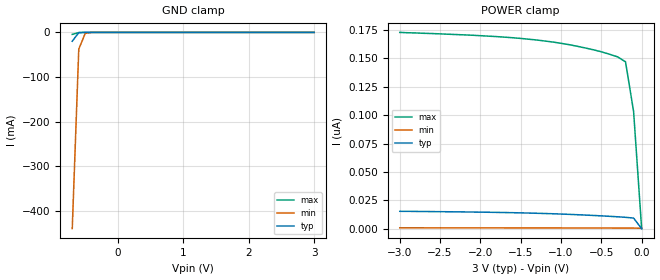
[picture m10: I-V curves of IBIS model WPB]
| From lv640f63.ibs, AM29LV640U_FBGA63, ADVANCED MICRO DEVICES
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|   Model WPB
[Model]   WPB
Model_type   Input
Polarity   Inverting
Vinl =   0.8000V
Vinh =   2.1000V
C_comp   8.0000pF   8.0000pF   8.0000pF
[Temperature Range]   27.0000   100.0000   0.000
[Pullup Reference]   3.0000V   2.7000V   3.6000V
[Pulldown Reference]   0.000V   0.000V   0.000V
[POWER Clamp Reference]   3.0000V   2.7000V   3.6000V
[GND Clamp Reference]   0.000V   0.000V   0.000V
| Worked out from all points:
|   GND clamp passes 1 mA (typ) near -0.60 V on its own axis
[GND_clamp]
| voltage   I(typ)   I(min)   I(max)
-700mV    -19.84mA   -440.3mA   -4.487mA
-600mV    -545.5uA   -37.29mA   -436.9uA
-500mV    -21.64uA   -1.775mA   -47.82uA
-300mV    -577.5nA   -4.159uA   -1.373uA
3V        23.28pA    585.9pA    -579.5nA
[POWER_clamp]
| voltage   I(typ)   I(min)   I(max)
-3V       15.34nA    779.2pA    172.9nA
-1.8V     14.37nA    718.8pA    169.2nA
-1.1V     13.17nA    664.8pA    164.4nA
-800mV    12.34nA    636.9pA    160.7nA
-500mV    11.31nA    606.9pA    155.8nA
-300mV    10.5nA     585.9pA    151.4nA
-200mV    10.04nA    574.8pA    147nA
-100mV    9.357nA    559pA      103.3nA
0V        46.5pA     400.6pA    64.56pA
